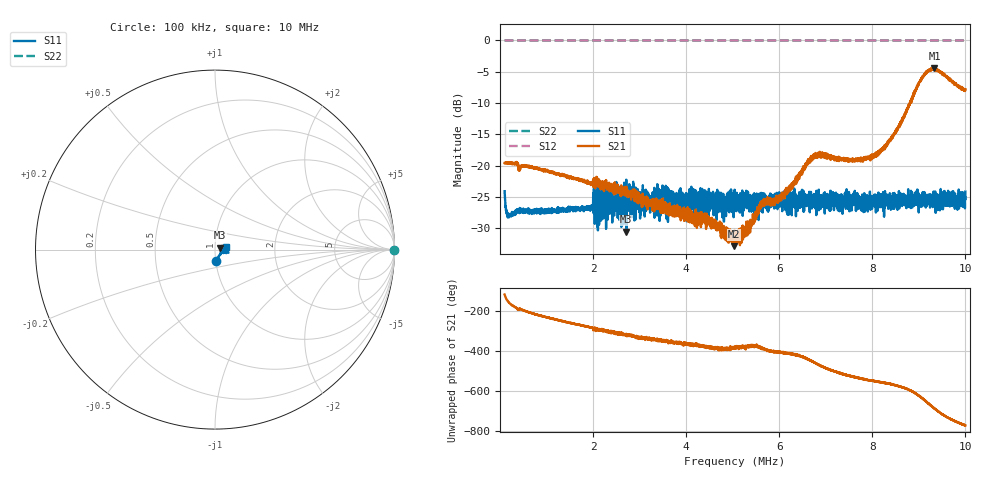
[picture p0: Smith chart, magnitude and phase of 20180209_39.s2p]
! Anritsu VNA Master:  Model: MS2026C/19
! SN:  1815009
! /card0/usr/20180209_39.s2p
! Existing Calibration Information:
! TYPE:  Current Settings,  Active Cal Settings
! TIME:  09/02/2018 11:13:08 PM,  09/02/2018 11:58:48 AM
! INTERNAL TEMP:  52.8 C,  48.8 C
! # POINTS:  4001,  4001
! START FREQ:  100.000 kHz,  100.000 kHz
! STOP FREQ:  10.000 MHz,  10.000 MHz
! SOURCE POWER:  Low,  Low
! IFBW:  500 Hz,  500 Hz
! AVG FACTOR:  1 ,  1
! REF PLANE 1:  0 mm,  0 mm
! REF PLANE 2:  0 mm,  0 mm
! CAL TYPE:  1P2P S11,S21,  1P2P S11,S21
! CAL METHOD:  SOLT,  SOLT
! CAL LINE TYPE:  Coax,  Coax
! DUT PORT 1:  N-Conn(M),  N-Conn(M)
! DUT PORT 2:  N-Conn(M),  N-Conn(M)
! CAL STATUS:  OK: Accuracy High,  --
# GHZ S RI R 50.0
! FREQ.GHZ  S11RE  S11IM  S21RE  S21IM  S12RE  S12IM  S22RE  S22IM
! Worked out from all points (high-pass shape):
!   4001 points, 100 kHz to 10 MHz, reference 50 ohm
!   highest |S21| = -4.45 dB at 9.334 MHz (marker M1); lowest = -32.9 dB at 5.035 MHz (marker M2)
!   |S21| within 3 dB of the highest: 8.964 MHz to 9.857 MHz (893.6 kHz wide, 9.5 % of centre); 9.875093 MHz to 9.881325 MHz (6.232 kHz wide, 0.0631 % of centre)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
!   lowest |S11| = -30.6 dB at 2.716 MHz (marker M3), VSWR 1.06, Z = 52.8 + j1.16 ohm
!   |S11| at or under -10 dB: start of sweep to end of sweep
!   |S22| runs from 0.0 to 0.0 dB; largest |S21 - S12| = 1.2
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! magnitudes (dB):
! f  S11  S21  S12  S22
! 100 kHz  -24.1  -19.6  0.0  0.0
! 203.9 kHz  -27.8  -19.6  0.0  0.0
! 1.751 MHz  -26.7  -22.4  0.0  0.0
! 1.949 MHz  -26.8  -22.9  0.0  0.0
! 2.05 MHz  -25.7  -22.8  0.0  0.0
! 2.142 MHz  -26.4  -23.4  0.0  0.0
! 2.716 MHz  -30.6  -23.3  0.0  0.0
! 3.402 MHz  -26.7  -26.5  0.0  0.0
! 3.513 MHz  -25.2  -27.5  0.0  0.0
! 3.741 MHz  -24.9  -27.7  0.0  0.0
! 4.451 MHz  -26.5  -29.0  0.0  0.0
! 5.035 MHz  -24.5  -32.9  0.0  0.0
! 5.05 MHz  -25.7  -31.7  0.0  0.0
! 5.362 MHz  -25.3  -29.7  0.0  0.0
! 5.634 MHz  -27.0  -26.2  0.0  0.0
! 6.09 MHz  -25.4  -24.5  0.0  0.0
! 6.701 MHz  -26.9  -19.1  0.0  0.0
! 7.921 MHz  -25.4  -18.8  0.0  0.0
! 8.352 MHz  -25.3  -16.0  0.0  0.0
! 9.055 MHz  -25.3  -6.0  0.0  0.0
! 9.334 MHz  -25.1  -4.4  0.0  0.0
! 10 MHz  -24.2  -7.8  0.0  0.0
